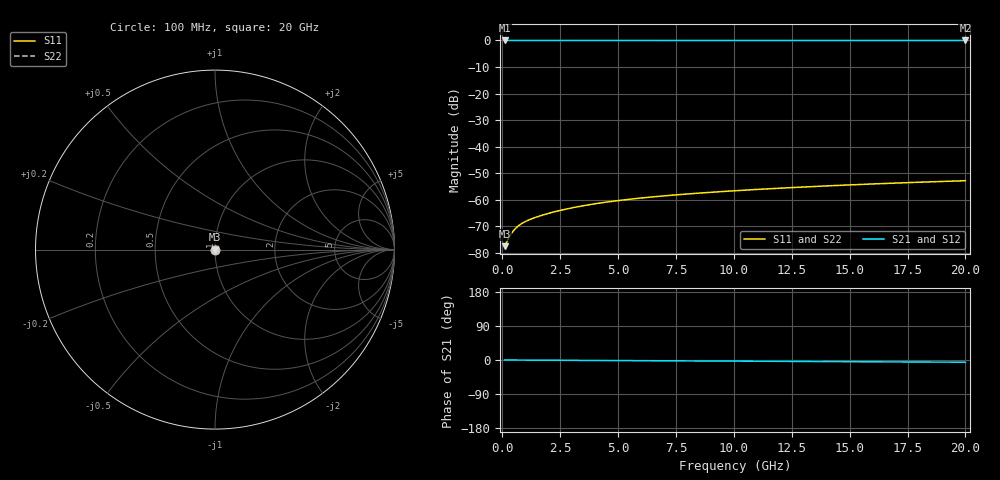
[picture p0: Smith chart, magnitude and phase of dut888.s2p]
! Touchstone file exported from HFSS 2026.1.0
!  File:  C:/ffzhzh/LocalFiles/Ansys_Project_Files/temp_train_TSV_888_1783185885_55132.aedt
!  Generated:  01:26:00 AM Jul  5, 2026
!  Design:  TSV
!  Project:  temp_train_TSV_888_1783185885_55132
! Variables:
!  h_bsmrdl = 2um
!  h_ox = 20um
!  h_rdl = 5um
!  h_sub = 57.81um
!  h_tmrdl = 5um
!  h_tsv = 57.81um
!  h_via = 3um
!  l_bsmrdl = 300um
!  l_sub = 417.3um
!  l_tmrdl = 200um
!  m_sub = 200um
!  pitch = 35.51um
!  r_tsv = 8.65um
!  s_tmrdl = 10um
!  w_bsmrdl = 18um
!  w_sub = 500um
!  w_tmrdl = 12um
!  x_tsv_center1 = 206um
!  x_tsv_center2 = 524um
!  x_tsv_center3 = 736um
!  x_tsv_center4 = 1054um
!  x_tsv_center5 = 1266um
!  x_tsv_center6 = 1584um
# GHz S MA R 50.000000
! Terminal data exported
! Port[1] = TSV1_1_T1
! Port[2] = TSV1_1_T2
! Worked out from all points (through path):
!   200 points, 100 MHz to 20 GHz, reference 50 ohm
!   highest |S21| = 0.00 dB at 100 MHz (marker M1); lowest = 0.0 dB at 20 GHz (marker M2)
!   lowest |S11| = -77.4 dB at 100 MHz (marker M3), VSWR 1.00, Z = 50 + j0.0046 ohm
!   |S11| at or under -10 dB: start of sweep to end of sweep
!   |S22| runs from -77.4 to -52.8 dB; largest |S21 - S12| = 3e-15
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0.1  0.0001344 20.0  0.9999 -0.0  0.9999 -0.0  0.0001344 20.0
! Gamma 0 0 0 0
! Port Impedance 50 0 50 0
0.3  0.0001991 39.8  0.9998 -0.1  0.9998 -0.1  0.0001991 39.8
0.4  0.0002349 43.1  0.9998 -0.1  0.9998 -0.1  0.0002349 43.1
0.5  0.0002682 44.7  0.9998 -0.2  0.9998 -0.2  0.0002683 44.7
0.6  0.0002983 45.4  0.9998 -0.2  0.9998 -0.2  0.0002983 45.4
0.7  0.0003253 45.7  0.9998 -0.2  0.9998 -0.2  0.0003253 45.7
0.8  0.0003495 45.9  0.9998 -0.2  0.9998 -0.2  0.0003495 45.9
1  0.0003918 46.3  0.9997 -0.3  0.9997 -0.3  0.0003919 46.3
1.2  0.0004289 46.8  0.9997 -0.4  0.9997 -0.4  0.0004289 46.8
1.4  0.0004629 47.4  0.9997 -0.4  0.9997 -0.4  0.0004629 47.4
2  0.0005575 49.4  0.9996 -0.6  0.9996 -0.6  0.0005575 49.4
2.7  0.0006623 51.3  0.9996 -0.8  0.9996 -0.8  0.0006623 51.3
3.5  0.0007762 52.5  0.9995 -1.0  0.9995 -1.0  0.0007762 52.5
4.2  0.0008696 53.1  0.9995 -1.3  0.9995 -1.3  0.0008696 53.1
5  0.0009692 53.5  0.9994 -1.5  0.9994 -1.5  0.0009691 53.5
5.8  0.001062 53.7  0.9994 -1.7  0.9994 -1.7  0.001062 53.7
6.8  0.00117 54.0  0.9993 -2.0  0.9993 -2.0  0.00117 54.0
8.3  0.001321 54.3  0.9993 -2.5  0.9993 -2.5  0.001321 54.3
10.1  0.00149 54.6  0.9992 -3.0  0.9992 -3.0  0.00149 54.6
13.4  0.00178 55.0  0.9991 -4.0  0.9991 -4.0  0.001779 55.0
16.7  0.002048 54.9  0.999 -4.9  0.999 -4.9  0.002047 55.0
20  0.002294 54.6  0.9989 -5.9  0.9989 -5.9  0.002293 54.6
